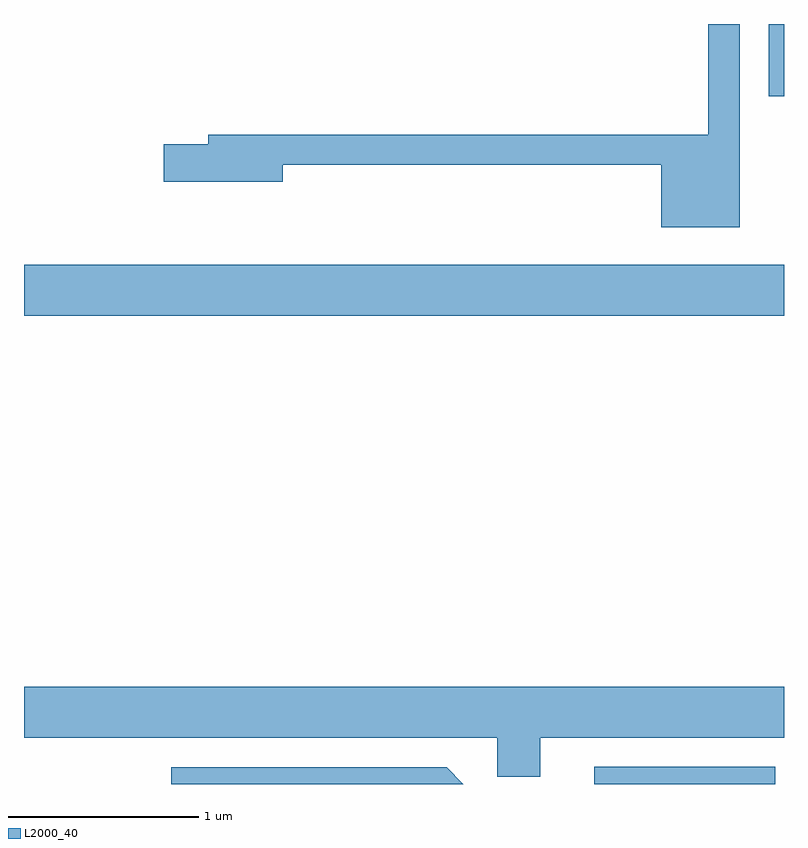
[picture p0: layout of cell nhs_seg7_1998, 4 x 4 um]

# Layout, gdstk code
import gdstk
lib = gdstk.Library(unit=1e-6, precision=1e-09)
def R(c, l, rs):  # rectangles x0, y0, x1, y1
    for r in rs: c.add(gdstk.rectangle(r[:2], r[2:], *l))
def P(c, l, *ps):  # polygons
    for p in ps: c.add(gdstk.Polygon(p, *l))
L2000_40 = (2000, 40)

nhs_seg7_1998 = lib.new_cell('nhs_seg7_1998')
R(nhs_seg7_1998, L2000_40, [(248.611,1756.252,249.564,1756.344), (245.611,1758.716,249.611,1758.984), (249.531,1759.871,249.611,1760.252)])
P(nhs_seg7_1998, L2000_40, [(249.379,1760.252),(249.211,1760.252),(249.211,1759.669),(246.581,1759.669),(246.581,1759.619),(246.346,1759.619),(246.346,1759.421),(246.974,1759.421),(246.974,1759.511),(248.966,1759.511),(248.966,1759.181),(249.379,1759.181)],
  [(248.329,1756.496),(249.611,1756.496),(249.611,1756.764),(245.611,1756.764),(245.611,1756.496),(248.101,1756.496),(248.101,1756.291),(248.329,1756.291)],
  [(247.837,1756.339),(246.386,1756.339),(246.386,1756.252),(247.924,1756.252)])

lib.write_gds('nhs_seg7_1998.gds')
